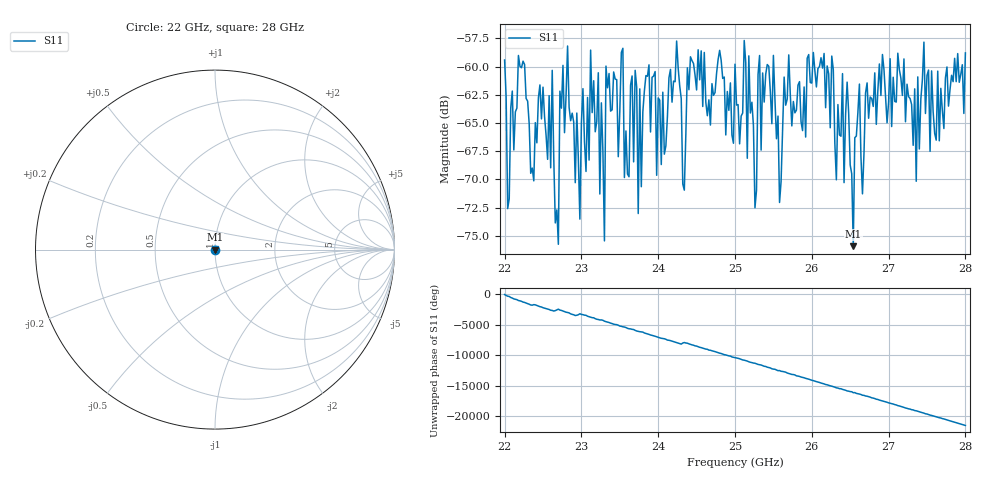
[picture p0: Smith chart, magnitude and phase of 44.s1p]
#  HZ  S  RI  R  50.00
! Rohde & Schwarz ZVA40 4Ports - Version 3.90 - 1145.1110k42 SN: 100403
! Date: 2023-10-04 11:28:44
! Measurement: S12
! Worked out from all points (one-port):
!   301 points, 22 GHz to 28 GHz, reference 50 ohm
!   lowest |S11| = -75.9 dB at 26.54 GHz (marker M1), VSWR 1.00, Z = 50 + j0.016 ohm
!   |S11| at or under -10 dB: start of sweep to end of sweep
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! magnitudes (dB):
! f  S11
! 22 GHz  -59.4
! 22.04 GHz  -72.6
! 22.18 GHz  -59.0
! 22.38 GHz  -70.1
! 22.62 GHz  -60.3
! 22.7 GHz  -75.7
! 22.76 GHz  -59.9
! 22.98 GHz  -73.5
! 23.22 GHz  -60.5
! 23.3 GHz  -75.4
! 23.32 GHz  -60.0
! 23.5 GHz  -64.0
! 23.7 GHz  -60.3
! 23.74 GHz  -73.0
! 23.76 GHz  -62.0
! 24.26 GHz  -60.1
! 24.34 GHz  -70.9
! 24.42 GHz  -59.1
! 25 GHz  -59.8
! 25.26 GHz  -72.5
! 25.32 GHz  -59.0
! 25.58 GHz  -72.0
! 25.76 GHz  -63.1
! 26.5 GHz  -68.7
! 26.54 GHz  -75.9
! 26.62 GHz  -61.5
! 27.26 GHz  -62.7
! 28 GHz  -58.8
